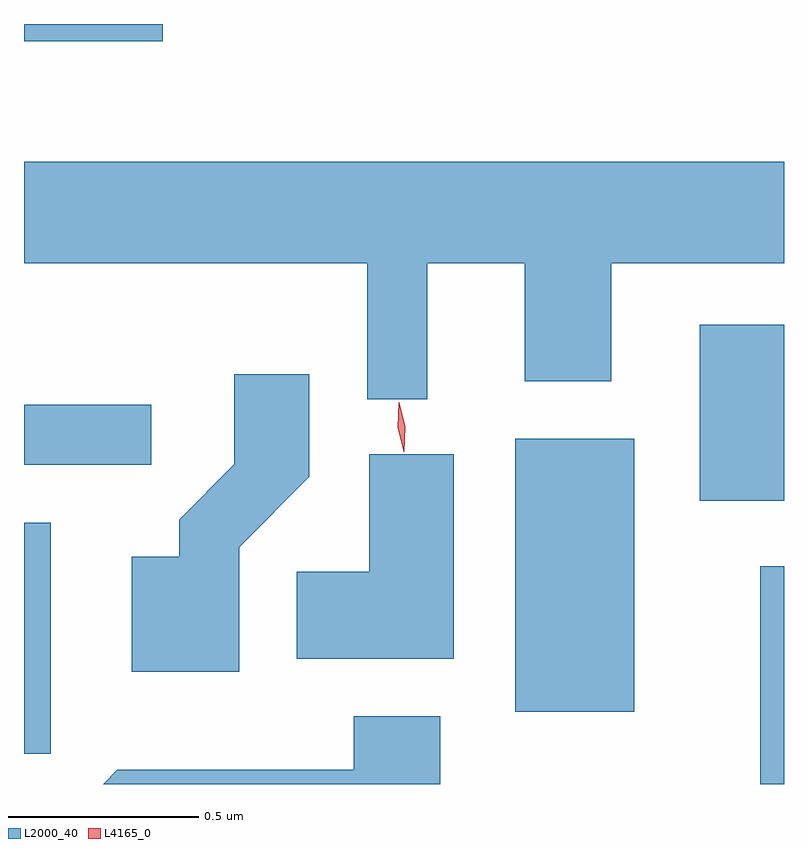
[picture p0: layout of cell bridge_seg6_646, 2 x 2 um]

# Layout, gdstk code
import gdstk
lib = gdstk.Library(unit=1e-6, precision=1e-09)
def R(c, l, rs):  # rectangles x0, y0, x1, y1
    for r in rs: c.add(gdstk.rectangle(r[:2], r[2:], *l))
def P(c, l, *ps):  # polygons
    for p in ps: c.add(gdstk.Polygon(p, *l))
L2000_40 = (2000, 40)
L4165_0 = (4165, 0)

bridge_seg6_646 = lib.new_cell('bridge_seg6_646')
R(bridge_seg6_646, L2000_40, [(608.511,1608.606,608.573,1609.179), (606.573,1608.686,606.644,1609.294), (607.866,1608.796,608.179,1609.514), (608.351,1609.351,608.573,1609.814), (606.573,1609.446,606.908,1609.604), (606.573,1610.561,606.938,1610.606)])
P(bridge_seg6_646, L2000_40, [(607.634,1609.976),(607.891,1609.976),(607.891,1609.666),(608.119,1609.666),(608.119,1609.976),(608.573,1609.976),(608.573,1610.244),(606.573,1610.244),(606.573,1609.976),(607.476,1609.976),(607.476,1609.618),(607.634,1609.618)],
  [(607.139,1609.229),(607.324,1609.414),(607.324,1609.684),(607.126,1609.684),(607.126,1609.447),(606.981,1609.302),(606.981,1609.204),(606.856,1609.204),(606.856,1608.901),(607.139,1608.901)],
  [(607.704,1609.474),(607.481,1609.474),(607.481,1609.164),(607.291,1609.164),(607.291,1608.936),(607.704,1608.936)],
  [(607.669,1608.784),(607.441,1608.784),(607.441,1608.644),(606.819,1608.644),(606.781,1608.606),(607.669,1608.606)])
P(bridge_seg6_646, L4165_0, [(607.572,1609.479),(607.572,1609.48),(607.556,1609.544),(607.559,1609.611),(607.559,1609.611),(607.56,1609.611),(607.576,1609.546),(607.573,1609.48)])

lib.write_gds('bridge_seg6_646.gds')
